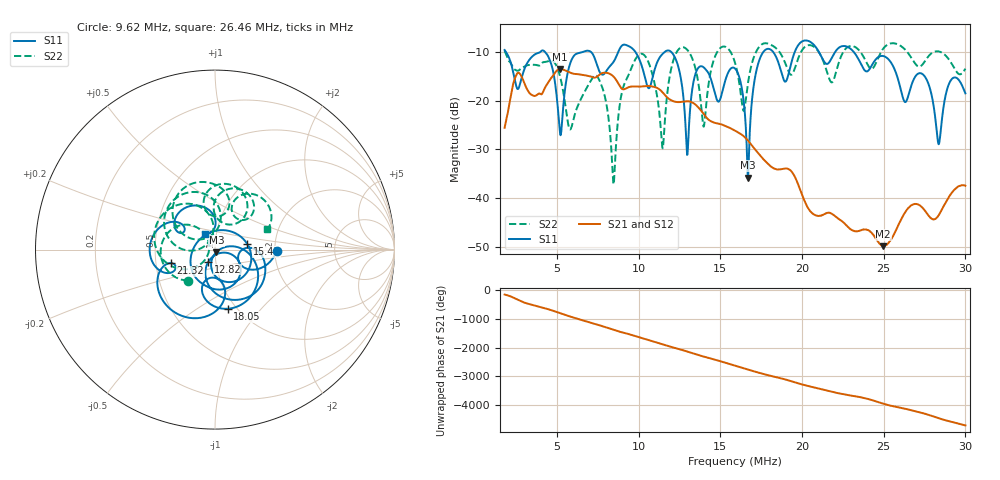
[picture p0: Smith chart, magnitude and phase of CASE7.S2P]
!Agilent Technologies,E5061B,MY49101568,A.02.00
!Date: Wed Mar 01 16:30:22 2023
!Data & Calibration Information:
!Freq	S11:SOLT2(OFF)	S21:SOLT2(OFF)	S12:SOLT2(OFF)	S22:SOLT2(OFF)
# Hz S dB R 50
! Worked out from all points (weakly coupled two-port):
!   1155 points, 1.8 MHz to 30 MHz, reference 50 ohm
!   highest |S21| = -13.51 dB at 5.197 MHz (marker M1); lowest = -49.9 dB at 24.97 MHz (marker M2)
!   lowest |S11| = -35.8 dB at 16.68 MHz (marker M3), VSWR 1.03, Z = 50.8 - j1.46 ohm
!   |S11| at or under -10 dB: 4.273 MHz to 6.577 MHz (2.304 MHz wide, 42.5 % of centre); 12 MHz to 17.63 MHz (5.633 MHz wide, 38 % of centre); 23.17 MHz to end of sweep (the widest 3 of 8)
!   |S22| runs from -37.2 to -8.2 dB; largest |S21 - S12| = 0.003
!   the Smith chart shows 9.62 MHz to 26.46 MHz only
!   S11 on the Smith chart (normalised r, x): 9.62 MHz: 2.04, -0.04; 12.82 MHz: 0.92, -0.12; 15.41 MHz: 1.43, +0.09; 18.05 MHz: 0.91, -0.68; 21.32 MHz: 0.60, -0.10; 26.46 MHz: 0.88, +0.16
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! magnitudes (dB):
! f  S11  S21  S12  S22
! 1.8 MHz  -9.6  -25.6  -25.6  -9.8
! 4.341 MHz  -10.3  -16.9  -16.9  -12.0
! 5.197 MHz  -26.8  -13.5  -13.5  -15.1
! 6.516 MHz  -10.1  -14.7  -14.6  -19.3
! 7.64 MHz  -14.2  -14.6  -14.5  -16.1
! 8.471 MHz  -12.0  -15.1  -15.0  -37.2
! 9.62 MHz  -9.3  -17.1  -17.1  -12.8
! 11.21 MHz  -11.6  -17.5  -17.6  -20.8
! 12.82 MHz  -22.4  -20.2  -20.2  -9.1
! 13.97 MHz  -13.1  -22.7  -22.7  -25.3
! 15.41 MHz  -14.8  -25.3  -25.4  -9.1
! 15.9 MHz  -13.4  -26.2  -26.2  -12.2
! 16.68 MHz  -35.8  -28.1  -28.2  -16.7
! 18.05 MHz  -9.5  -33.4  -33.5  -8.4
! 20.62 MHz  -8.2  -43.1  -43.0  -8.7
! 21.32 MHz  -11.8  -43.4  -43.3  -12.1
! 24.97 MHz  -10.8  -49.9  -49.7  -9.3
! 25.31 MHz  -11.6  -49.2  -49.1  -8.4
! 26.46 MHz  -19.5  -42.3  -42.2  -10.1
! 27.51 MHz  -15.0  -42.5  -42.5  -12.0
! 28.36 MHz  -28.9  -43.5  -43.4  -9.9
! 30 MHz  -18.5  -37.5  -37.4  -13.4
